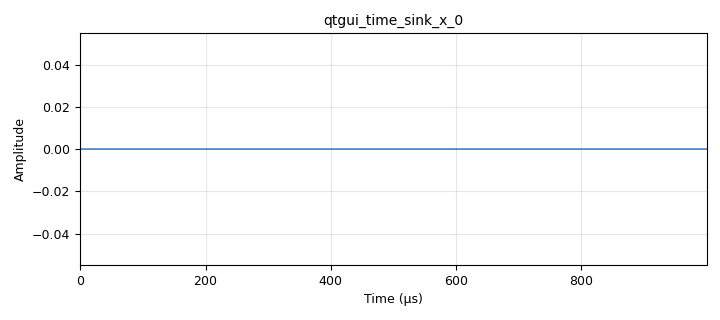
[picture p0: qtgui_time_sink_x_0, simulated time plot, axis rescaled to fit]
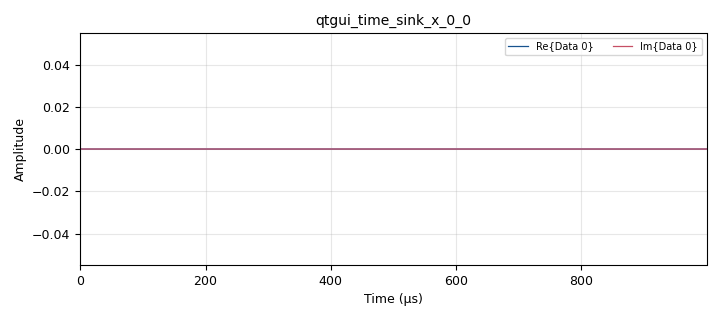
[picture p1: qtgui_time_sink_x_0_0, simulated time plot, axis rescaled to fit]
options:
  parameters:
    author: irongiant
    generate_options: qt_gui
    id: ookmod
    output_language: python
    title: Not titled yet
  states: {}

blocks:
- name: offset_freq
  id: variable
  parameters:
    value: 2e6
  states: {}
- name: pulse_duration
  id: variable
  parameters:
    value: '100e-6'
  states: {}
- name: samp_rate
  id: variable
  parameters:
    value: 8e6
  states: {}
- name: time_window
  id: variable
  parameters:
    value: pulse_duration * 10
  states: {}
- name: analog_const_source_x_0
  id: analog_const_source_x
  parameters:
    const: '0'
    type: float
  states: {}
- name: analog_sig_source_x_0
  id: analog_sig_source_x
  parameters:
    amp: '1'
    freq: offset_freq
    offset: '0'
    phase: '0'
    samp_rate: samp_rate
    type: complex
    waveform: analog.GR_COS_WAVE
  states: {}
- name: blocks_float_to_complex_0
  id: blocks_float_to_complex
  parameters: {}
  states: {}
- name: blocks_multiply_xx_0
  id: blocks_multiply_xx
  parameters:
    type: complex
  states: {}
- name: blocks_repeat_0
  id: blocks_repeat
  parameters:
    interp: 'int(pulse_duration * samp_rate) '
    type: float
  states: {}
- name: blocks_throttle2_0
  id: blocks_throttle2
  parameters:
    samples_per_second: samp_rate
    type: complex
  states: {}
- name: blocks_vector_source_x_0
  id: blocks_vector_source_x
  parameters:
    repeat: 'True'
    type: float
    vector: (0, 1, 1, 1, 0, 1, 0, 1, 0, 1, 0, 0, 0, 0, 0, 0, 0, 0, 0, 0)
  states: {}
- name: qtgui_time_sink_x_0
  id: qtgui_time_sink_x
  parameters:
    size: int(time_window * samp_rate)
    srate: samp_rate
    type: float
  states: {}
- name: qtgui_time_sink_x_0_0
  id: qtgui_time_sink_x
  parameters:
    size: int(time_window * samp_rate)
    srate: samp_rate
    type: complex
  states: {}
- name: zeromq_pub_sink_0
  id: zeromq_pub_sink
  parameters:
    address: tcp://127.0.0.1:4443
    timeout: '100'
    type: complex
  states: {}

connections:
- [analog_const_source_x_0, '0', blocks_float_to_complex_0, '1']
- [analog_sig_source_x_0, '0', blocks_throttle2_0, '0']
- [blocks_float_to_complex_0, '0', blocks_multiply_xx_0, '0']
- [blocks_multiply_xx_0, '0', qtgui_time_sink_x_0_0, '0']
- [blocks_multiply_xx_0, '0', zeromq_pub_sink_0, '0']
- [blocks_repeat_0, '0', blocks_float_to_complex_0, '0']
- [blocks_repeat_0, '0', qtgui_time_sink_x_0, '0']
- [blocks_throttle2_0, '0', blocks_multiply_xx_0, '1']
- [blocks_vector_source_x_0, '0', blocks_repeat_0, '0']

metadata:
  file_format: 1
  grc_version: 3.10.7.0
